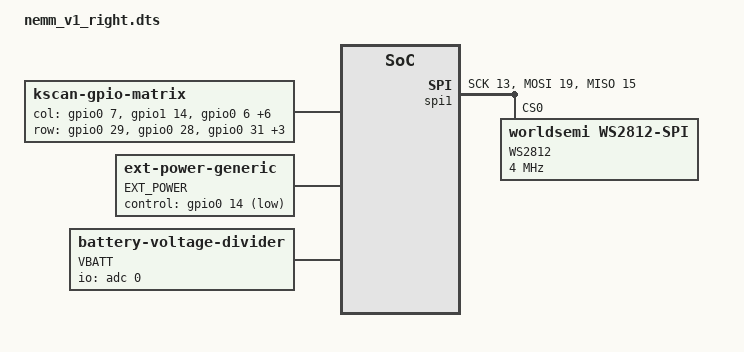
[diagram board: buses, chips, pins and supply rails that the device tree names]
/*
* Copyright (c) 2021 The ZMK Contributors
*
* SPDX-License-Identifier: MIT
*/

/dts-v1/;
#include "nemm_v1.dts"
#include <dt-bindings/led/led.h>


/ {
	chosen {
		zmk,kscan = &kscan0;
		zmk,matrix_transform = &default_transform;
		zmk,underglow = &led_strip;
		zmk,battery = &vbatt;
	};

	
	default_transform: keymap_transform_0 {
        col-offset = <9>;
	};


	kscan0: kscan_0 {
		compatible = "zmk,kscan-gpio-matrix";
		label = "KSCAN";
		diode-direction = "col2row";

		col-gpios
			= <&gpio0 7  GPIO_ACTIVE_HIGH> //
			, <&gpio1 14 GPIO_ACTIVE_HIGH> //
			, <&gpio0 6  GPIO_ACTIVE_HIGH> //
			, <&gpio1 8  GPIO_ACTIVE_HIGH> //
			, <&gpio0 11 GPIO_ACTIVE_HIGH> //
			, <&gpio0 8  GPIO_ACTIVE_HIGH> //
			, <&gpio1 9  GPIO_ACTIVE_HIGH> //
			, <&gpio0 12 GPIO_ACTIVE_HIGH> //
			, <&gpio0 16 GPIO_ACTIVE_HIGH> //
			;

		row-gpios
			= <&gpio0 29 (GPIO_ACTIVE_HIGH | GPIO_PULL_DOWN)>
			, <&gpio0 28 (GPIO_ACTIVE_HIGH | GPIO_PULL_DOWN)>
			, <&gpio0 31 (GPIO_ACTIVE_HIGH | GPIO_PULL_DOWN)>
			, <&gpio0 27 (GPIO_ACTIVE_HIGH | GPIO_PULL_DOWN)>
			, <&gpio0 5  (GPIO_ACTIVE_HIGH | GPIO_PULL_DOWN)>
			, <&gpio1 10 (GPIO_ACTIVE_HIGH | GPIO_PULL_DOWN)>
			;
	};

	ext-power {
		compatible = "zmk,ext-power-generic";
		label = "EXT_POWER";
		control-gpios = <&gpio0 14 GPIO_ACTIVE_LOW>;   /*0.07*/
	};

	vbatt: vbatt {
		compatible = "zmk,battery-voltage-divider";
		label = "VBATT";
		io-channels = <&adc 0>;
		output-ohms = <2000000>;
		full-ohms = <(2000000 + 820000)>;

	};
};

&spi1 {
    status = "okay";
    
	mosi-pin = <19>;
	// Unused pins, needed for SPI definition, but not used by the ws2812 driver itself.
	sck-pin = <13>;
	miso-pin = <15>;

	led_strip: ws2812@0 {
		compatible = "worldsemi,ws2812-spi";
		label = "WS2812";

		/* SPI */
		reg = <0>; /* ignored, but necessary for SPI bindings */
		spi-max-frequency = <4000000>;

		/* WS2812 */
		chain-length = <8>; /* LED strip length */
		spi-one-frame = <0x70>;
		spi-zero-frame = <0x40>;
		color-mapping = <LED_COLOR_ID_GREEN LED_COLOR_ID_RED LED_COLOR_ID_BLUE>;
	};
};
